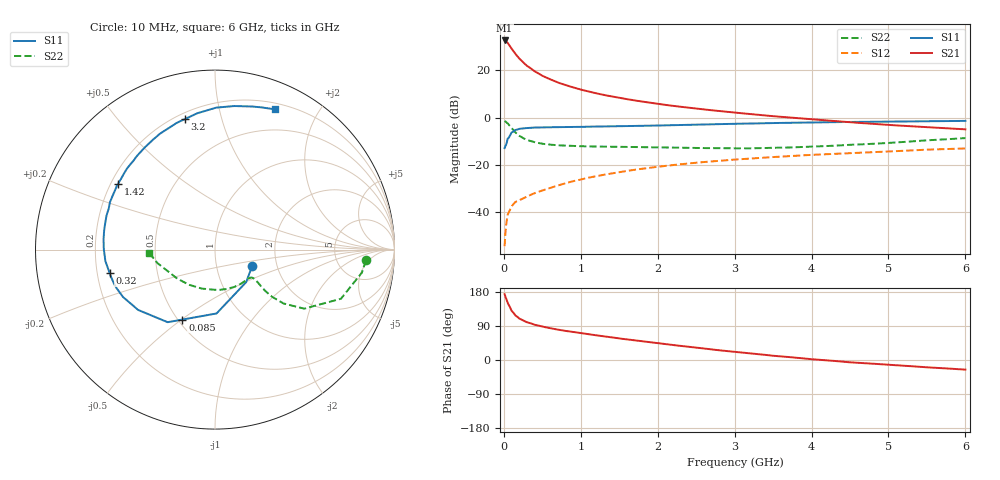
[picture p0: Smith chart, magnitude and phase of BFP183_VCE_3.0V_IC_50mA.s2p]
! Infineon Technologies  Discrete & RF Semiconductors
! BFP183
! VCE = 3.0 V,  IC =  50 mA
! Common Emitter S-Parameters:  Jan 2016
# GHz  S  MA  R  50
!  f  S11  S21  S12  S22
! GHz  MAG  ANG  MAG  ANG  MAG  ANG  MAG  ANG
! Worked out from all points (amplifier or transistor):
!   210 points, 10 MHz to 6 GHz, reference 50 ohm
!   highest |S21| = 32.6 dB at 10 MHz (marker M1)
!   |S21| within 3 dB of that: start of sweep to 90.74 MHz
!   unconditionally stable (mu >= 1): start of sweep to 19.34 MHz; 300.2 MHz to end of sweep
!   at 185 MHz: K = 0.76, MSG = 30.4 dB, |S12| = -35.2 dB
!   at 1.52 GHz: K = 1.42, MAG = 11.8 dB, |S12| = -23.0 dB
!   at 6 GHz: K = 1.09, MAG = 2.2 dB, |S12| = -13.1 dB
!   S11 on the Smith chart (normalised r, x): 10 MHz: 1.49, -0.29; 85 MHz: 0.53, -0.50; 320 MHz: 0.25, -0.10; 1.42 GHz: 0.23, +0.29; 3.2 GHz: 0.23, +0.77; 6 GHz: 0.26, +1.48
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0.01  0.2261 -24.0  42.75 173.6  0.0019 68.0  0.8428 -4.1
0.02  0.251 -46.1  42.29 167.4  0.0035 75.4  0.8285 -8.9
0.05  0.3559 -88.6  38.03 150.0  0.0088 69.8  0.7534 -21.3
0.085  0.4302 -115.0  31.2 137.2  0.0117 57.4  0.6401 -29.2
0.1  0.4828 -123.1  28.9 130.0  0.0131 53.8  0.5963 -33.5
0.15  0.5446 -141.9  22.27 117.6  0.0164 51.0  0.4849 -38.2
0.155  0.5469 -143.0  21.81 116.9  0.0165 50.9  0.4776 -38.3
0.2  0.5764 -152.7  17.77 109.6  0.0178 50.2  0.4125 -39.6
0.24  0.589 -158.6  15.29 105.1  0.0191 50.5  0.3765 -39.5
0.32  0.6016 -167.6  11.85 98.6  0.0221 52.3  0.3282 -38.5
0.4  0.6141 -174.1  9.527 93.0  0.0251 55.2  0.2993 -37.4
0.5  0.6196 179.7  7.655 88.0  0.0286 56.3  0.2785 -36.8
0.6  0.6236 174.6  6.464 83.9  0.0325 58.4  0.2671 -36.6
0.8  0.6292 166.5  4.863 76.8  0.0405 60.7  0.2544 -37.7
1.02  0.6362 158.2  3.83 70.2  0.0496 61.1  0.247 -40.6
1.42  0.6529 146.0  2.762 59.3  0.0666 59.7  0.2409 -47.9
2.02  0.6798 129.5  1.923 43.9  0.0916 55.1  0.2346 -62.1
3.1  0.7416 104.9  1.229 19.6  0.1322 44.9  0.2232 -95.3
3.2  0.7465 103.0  1.186 17.7  0.1356 43.9  0.2235 -98.8
4.1  0.7933 88.0  0.894 0.6  0.1651 35.0  0.2459 -129.6
5.1  0.8232 75.6  0.682 -13.8  0.1945 26.5  0.297 -158.2
6  0.8493 66.9  0.563 -25.4  0.222 17.2  0.3673 -177.2
